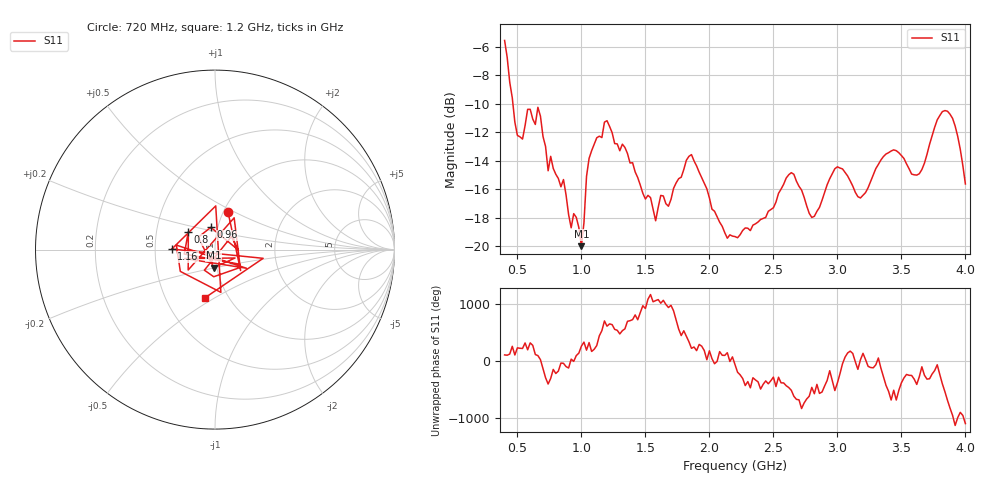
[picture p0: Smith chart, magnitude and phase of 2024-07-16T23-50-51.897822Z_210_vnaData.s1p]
!Created with skrf (http://scikit-rf.org).
# Hz S RI R 50.0
!freq ReS11 ImS11
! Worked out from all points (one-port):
!   181 points, 400 MHz to 4 GHz, reference 50 ohm
!   lowest |S11| = -20.0 dB at 1 GHz (marker M1), VSWR 1.22, Z = 48.4 - j9.76 ohm
!   |S11| at or under -10 dB: 464.9 MHz to end of sweep
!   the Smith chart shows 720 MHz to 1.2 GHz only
!   S11 on the Smith chart (normalised r, x): 720 MHz: 1.05, +0.47; 800 MHz: 0.73, +0.15; 960 MHz: 0.93, +0.23; 1.16 GHz: 0.61, +0.00; 1.2 GHz: 0.78, -0.45
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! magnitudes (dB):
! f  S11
! 400 MHz  -5.5
! 500 MHz  -12.2
! 660 MHz  -10.2
! 720 MHz  -13.0
! 740 MHz  -14.7
! 800 MHz  -14.9
! 860 MHz  -15.3
! 920 MHz  -18.7
! 960 MHz  -18.0
! 1 GHz  -20.0
! 1.06 GHz  -13.8
! 1.16 GHz  -12.4
! 1.2 GHz  -11.2
! 1.3 GHz  -13.3
! 1.58 GHz  -18.2
! 1.76 GHz  -15.3
! 1.86 GHz  -13.6
! 2.2 GHz  -19.3
! 2.66 GHz  -14.9
! 2.8 GHz  -18.0
! 2.98 GHz  -14.6
! 3.1 GHz  -15.4
! 3.18 GHz  -16.6
! 3.44 GHz  -13.2
! 3.56 GHz  -14.6
! 3.64 GHz  -14.9
! 3.86 GHz  -10.5
! 4 GHz  -15.6
